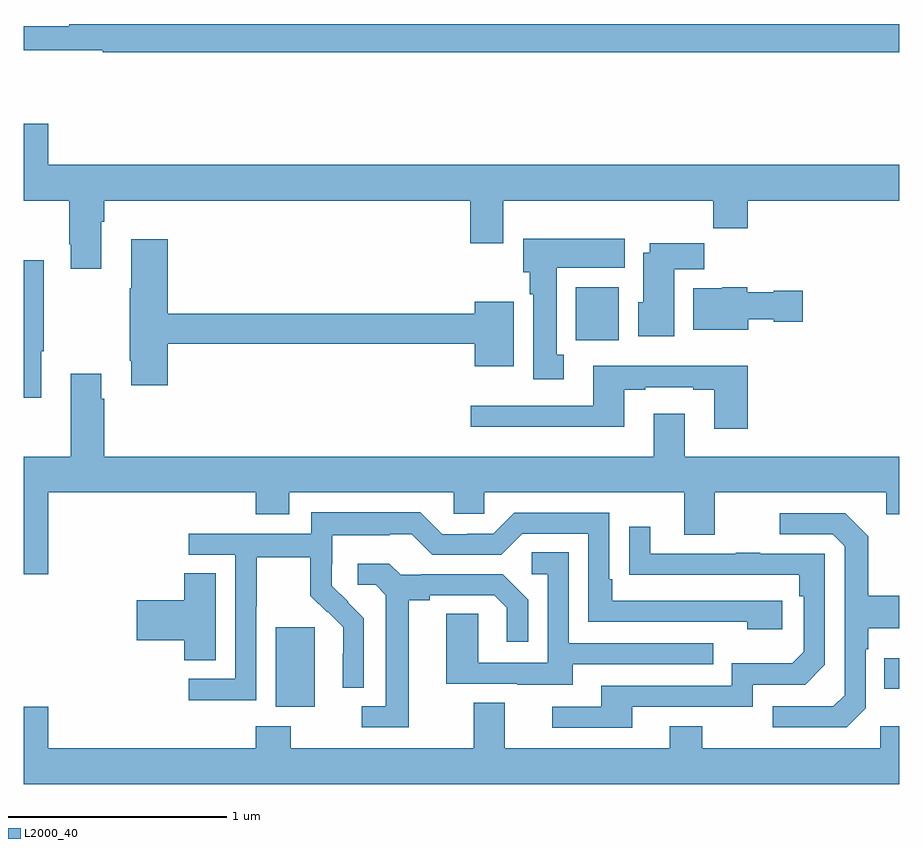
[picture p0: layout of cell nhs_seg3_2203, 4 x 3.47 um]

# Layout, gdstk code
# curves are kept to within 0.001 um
import gdstk
lib = gdstk.Library(unit=1e-6, precision=1e-09)
def R(c, l, rs):  # rectangles x0, y0, x1, y1
    for r in rs: c.add(gdstk.rectangle(r[:2], r[2:], *l))
def P(c, l, *ps):  # polygons
    for p in ps: c.add(gdstk.Polygon(p, *l))
L2000_40 = (2000, 40)

nhs_seg3_2203 = lib.new_cell('nhs_seg3_2203')
R(nhs_seg3_2203, L2000_40, [(226.151,689.282,226.33,689.643), (228.931,689.363,229,689.503), (227.522,690.956,227.719,691.198)])
P(nhs_seg3_2203, L2000_40, [(229,692.4),(225.208,692.4),(225.208,692.389),(225,692.389),(225,692.28),(225.362,692.28),(225.362,692.272),(229,692.272)],
  [(225.355,691.496),(225.368,691.496),(225.368,691.592),(227.039,691.592),(227.039,691.398),(227.191,691.398),(227.191,691.592),(228.151,691.592),(228.151,691.468),(228.308,691.468),(228.308,691.592),(229,691.592),(229,691.756),(225.112,691.756),(225.112,691.945),(225,691.945),(225,691.592),(225.208,691.592),(225.208,691.393),(225.215,691.393),(225.215,691.281),(225.355,691.281)],
  [(227.467,690.89),(227.434,690.89),(227.434,691.286),(227.746,691.286),(227.746,691.42),(227.282,691.42),(227.282,691.266),(227.312,691.266),(227.312,691.166),(227.327,691.166),(227.327,690.777),(227.467,690.777)],
  [(225.659,690.94),(227.06,690.94),(227.06,690.836),(227.239,690.836),(227.239,691.132),(227.06,691.132),(227.06,691.076),(225.659,691.076),(225.659,691.417),(225.491,691.417),(225.491,691.193),(225.484,691.193),(225.484,690.862),(225.491,690.862),(225.491,690.75),(225.659,690.75)],
  [(227.971,691.28),(228.11,691.28),(228.11,691.399),(227.861,691.399),(227.861,691.354),(227.831,691.354),(227.831,691.128),(227.807,691.128),(227.807,690.974),(227.971,690.974)],
  [(225.079,690.905),(225.091,690.905),(225.091,691.321),(225,691.321),(225,690.693),(225.079,690.693)],
  [(228.31,691.052),(228.426,691.052),(228.426,691.04),(228.559,691.04),(228.559,691.182),(228.426,691.182),(228.426,691.174),(228.306,691.174),(228.306,691.198),(228.192,691.198),(228.192,691.192),(228.059,691.192),(228.059,691.004),(228.31,691.004)],
  [(228.308,690.838),(227.603,690.838),(227.603,690.657),(227.043,690.657),(227.043,690.56),(227.743,690.56),(227.743,690.729),(227.839,690.729),(227.839,690.741),(228.059,690.741),(228.059,690.729),(228.155,690.729),(228.155,690.552),(228.308,690.552)],
  [(225.112,690.26),(226.061,690.26),(226.061,690.161),(226.213,690.161),(226.213,690.26),(226.965,690.26),(226.965,690.162),(227.103,690.162),(227.103,690.26),(228.017,690.26),(228.017,690.066),(228.157,690.066),(228.157,690.26),(228.941,690.26),(228.941,690.161),(229,690.161),(229,690.424),(228.019,690.424),(228.019,690.619),(227.879,690.619),(227.879,690.424),(225.368,690.424),(225.368,690.689),(225.355,690.689),(225.355,690.802),(225.215,690.802),(225.215,690.424),(225,690.424),(225,689.886),(225.112,689.886)],
  [(226.062,689.74),(226.065,689.74),(226.065,689.964),(226.309,689.964),(226.309,689.789),(226.386,689.712),(226.389,689.715),(226.46,689.645),(226.46,689.522),(226.458,689.522),(226.458,689.368),(226.554,689.368),(226.554,689.686),(226.408,689.834),(226.408,689.931),(226.41,689.931),(226.41,690.065),(226.673,690.065),(226.673,690.069),(226.773,690.069),(226.866,689.976),(227.181,689.976),(227.277,690.072),(227.58,690.072),(227.58,689.67),(228.305,689.67),(228.305,689.636),(228.466,689.636),(228.466,689.766),(227.689,689.766),(227.689,689.863),(227.676,689.863),(227.676,690.168),(227.241,690.168),(227.145,690.072),(227.027,690.072),(227.027,690.069),(226.911,690.069),(226.811,690.169),(226.314,690.169),(226.314,690.072),(225.753,690.072),(225.753,689.976),(225.966,689.976),(225.966,689.409),(225.753,689.409),(225.753,689.311),(226.062,689.311)],
  [(228.846,689.274),(228.846,689.543),(228.859,689.543),(228.859,689.639),(229,689.639),(229,689.787),(228.859,689.787),(228.859,690.059),(228.753,690.165),(228.453,690.165),(228.453,690.069),(228.696,690.069),(228.75,690.015),(228.75,689.334),(228.699,689.283),(228.423,689.283),(228.423,689.187),(228.759,689.187)],
  [(227.779,689.28),(228.33,689.28),(228.33,689.382),(228.57,689.382),(228.66,689.472),(228.66,689.979),(228.365,689.979),(228.365,689.984),(228.253,689.984),(228.253,689.979),(227.863,689.979),(227.863,690.103),(227.767,690.103),(227.767,689.884),(228.544,689.883),(228.544,689.786),(228.564,689.786),(228.564,689.532),(228.511,689.479),(228.234,689.479),(228.234,689.376),(227.639,689.376),(227.639,689.28),(227.415,689.28),(227.415,689.184),(227.779,689.184)],
  [(227.509,689.475),(228.149,689.475),(228.149,689.571),(227.49,689.571),(227.49,689.987),(227.322,689.987),(227.322,689.886),(227.394,689.886),(227.394,689.481),(227.076,689.481),(227.076,689.705),(226.931,689.705),(226.931,689.385),(227.255,689.385),(227.255,689.381),(227.509,689.381)],
  [(226.759,689.768),(226.855,689.768),(226.855,689.79),(227.15,689.79),(227.207,689.733),(227.207,689.577),(227.304,689.577),(227.304,689.77),(227.188,689.886),(226.816,689.886),(226.816,689.883),(226.722,689.883),(226.67,689.935),(226.527,689.935),(226.527,689.838),(226.608,689.838),(226.655,689.791),(226.655,689.283),(226.545,689.283),(226.545,689.187),(226.759,689.187)],
  [(225.877,689.891),(225.734,689.891),(225.734,689.768),(225.516,689.768),(225.516,689.585),(225.734,689.585),(225.734,689.494),(225.877,689.494)],
  [(229,689.191),(228.912,689.191),(228.912,689.092),(228.099,689.092),(228.099,689.191),(227.951,689.191),(227.951,689.092),(227.197,689.092),(227.197,689.3),(227.057,689.3),(227.057,689.092),(226.221,689.092),(226.221,689.191),(226.061,689.191),(226.061,689.092),(225.112,689.092),(225.112,689.281),(225,689.281),(225,688.928),(229,688.928)])

lib.write_gds('nhs_seg3_2203.gds')
